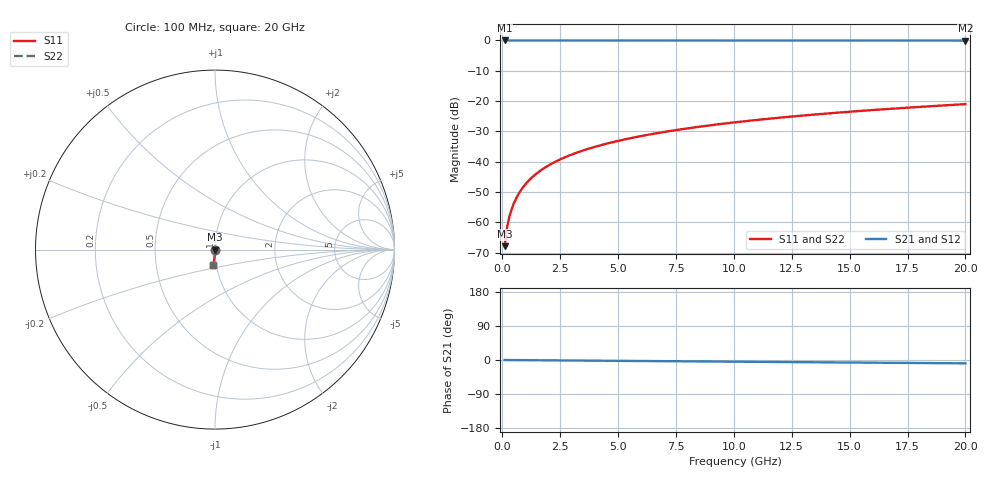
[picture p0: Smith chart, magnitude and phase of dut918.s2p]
! Touchstone file exported from HFSS 2026.1.0
!  File:  C:/ffzhzh/LocalFiles/Ansys_Project_Files/temp_train_TSV_918_1783186540_22436.aedt
!  Generated:  01:37:07 AM Jul  5, 2026
!  Design:  TSV
!  Project:  temp_train_TSV_918_1783186540_22436
! Variables:
!  h_bsmrdl = 2um
!  h_ox = 20um
!  h_rdl = 5um
!  h_sub = 76.36um
!  h_tmrdl = 5um
!  h_tsv = 76.36um
!  h_via = 3um
!  l_bsmrdl = 300um
!  l_sub = 427.48um
!  l_tmrdl = 200um
!  m_sub = 200um
!  pitch = 34.27um
!  r_tsv = 13.74um
!  s_tmrdl = 10um
!  w_bsmrdl = 18um
!  w_sub = 500um
!  w_tmrdl = 12um
!  x_tsv_center1 = 206um
!  x_tsv_center2 = 524um
!  x_tsv_center3 = 736um
!  x_tsv_center4 = 1054um
!  x_tsv_center5 = 1266um
!  x_tsv_center6 = 1584um
# GHz S MA R 50.000000
! Terminal data exported
! Port[1] = TSV1_1_T1
! Port[2] = TSV1_1_T2
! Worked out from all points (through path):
!   200 points, 100 MHz to 20 GHz, reference 50 ohm
!   highest |S21| = 0.00 dB at 100 MHz (marker M1); lowest = 0.0 dB at 20 GHz (marker M2)
!   group delay of S21, straight-line fit = 1.22 ps
!   lowest |S11| = -67.8 dB at 100 MHz (marker M3), VSWR 1.00, Z = 50 - j0.0397 ohm
!   |S11| at or under -10 dB: start of sweep to end of sweep
!   |S22| runs from -67.8 to -21.0 dB; largest |S21 - S12| = 1.1e-14
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0.1  0.0004064 -77.4  0.9999 -0.0  0.9999 -0.0  0.0004064 -77.4
! Gamma 0 0 0 0
! Port Impedance 50 0 50 0
0.2  0.0008053 -82.4  0.9999 -0.1  0.9999 -0.1  0.0008053 -82.4
0.3  0.001216 -83.8  0.9999 -0.1  0.9999 -0.1  0.001216 -83.8
0.4  0.001636 -84.5  0.9998 -0.2  0.9998 -0.2  0.001636 -84.5
0.5  0.002065 -84.9  0.9998 -0.2  0.9998 -0.2  0.002065 -84.9
0.7  0.00294 -85.6  0.9998 -0.3  0.9998 -0.3  0.00294 -85.6
0.8  0.003382 -85.9  0.9997 -0.4  0.9997 -0.4  0.003382 -85.9
1  0.00427 -86.4  0.9997 -0.5  0.9997 -0.5  0.00427 -86.4
1.2  0.005161 -86.9  0.9997 -0.5  0.9997 -0.5  0.005161 -86.9
1.4  0.006053 -87.3  0.9996 -0.6  0.9996 -0.6  0.006053 -87.3
1.7  0.007389 -87.8  0.9996 -0.8  0.9996 -0.8  0.007389 -87.8
2  0.008724 -88.2  0.9996 -0.9  0.9996 -0.9  0.008724 -88.2
2.7  0.01184 -89.0  0.9995 -1.2  0.9995 -1.2  0.01184 -89.0
3.5  0.0154 -89.6  0.9994 -1.6  0.9994 -1.6  0.0154 -89.6
4.2  0.01853 -90.1  0.9993 -1.9  0.9993 -1.9  0.01853 -90.1
5  0.0221 -90.6  0.9991 -2.2  0.9991 -2.2  0.0221 -90.6
6.8  0.03017 -91.6  0.9988 -3.0  0.9988 -3.0  0.03017 -91.6
8.3  0.03689 -92.4  0.9985 -3.7  0.9985 -3.7  0.03689 -92.4
10.1  0.04496 -93.3  0.9981 -4.5  0.9981 -4.5  0.04496 -93.3
13.4  0.05973 -94.9  0.9972 -5.9  0.9972 -5.9  0.05973 -94.9
16.7  0.07446 -96.5  0.9961 -7.4  0.9961 -7.4  0.07446 -96.5
20  0.08912 -98.0  0.9947 -8.8  0.9947 -8.8  0.08912 -98.0
